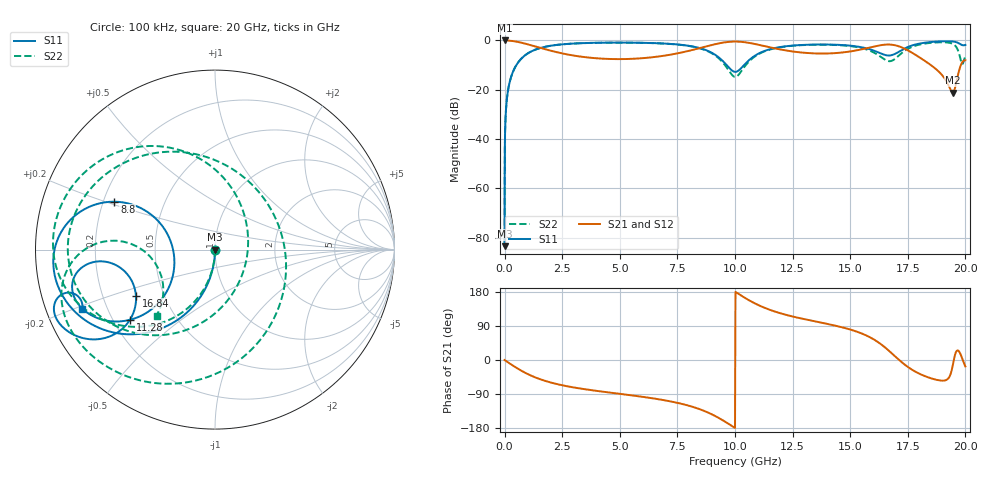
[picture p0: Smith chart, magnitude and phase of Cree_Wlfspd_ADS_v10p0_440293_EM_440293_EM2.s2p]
! Touchstone file exported from HFSS 3D Layout Design 2018.2.0
!  File:  C:/Users/wfinley/Desktop/CG2H40120/HFSS/440293_EM.aedt
!  Generated:  2:30:53 PM  Jun 17, 2019
!  Design:  440193_EM2
!  Project:  440293_EM
!  Setup:  HFSS Setup 1
!  Solution:  Sweep 1
# GHZ S MA R 50.000000
! Terminal data exported
! Port[1] = Port11
! Port[2] = Port12
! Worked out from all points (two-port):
!   1003 points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, 100 kHz to 20 GHz, reference per port
!   highest |S21| = 0.00 dB at 100 kHz (marker M1); lowest = -21.2 dB at 19.46 GHz (marker M2)
!   |S21| within 3 dB of the highest: start of sweep to 1.545 GHz; 8.513 GHz to 11.62 GHz (3.111 GHz wide, 30.9 % of centre)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
!   lowest |S11| = -83.5 dB at 100 kHz (marker M3), VSWR 1.00
!   |S11| at or under -10 dB: start of sweep to 509.5 MHz; 9.638 GHz to 10.39 GHz (755.6 MHz wide, 7.54 % of centre)
!   |S22| runs from -83.5 to -0.7 dB; largest |S21 - S12| = 2.9e-13
!   S11 on the Smith chart (normalised r, x): 100 kHz: 1.00, -0.00; 8.8 GHz: 0.25, +0.21; 11.28 GHz: 0.27, -0.34; 16.84 GHz: 0.35, -0.24; 20 GHz: 0.11, -0.21
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0.0001  6.682e-05 -74.7  1 -0.0  1 -0.0  6.673e-05 -75.0
! Gamma 0 0.00209584502195168 0 0 0 0 0.000451081105093305 0.00409270832915635
! Port Impedance50 0 0 0 0 0 50 0
0.001  0.0006631 -88.2  1 -0.0  1 -0.0  0.0006631 -88.3
0.02  0.01399 -92.2  0.9996 -0.9  0.9996 -0.9  0.0133 -89.2
0.12  0.0788 -95.0  0.9963 -5.0  0.9963 -5.0  0.07876 -95.6
0.44  0.2769 -107.2  0.9594 -17.9  0.9594 -17.9  0.2769 -109.1
1.36  0.6577 -134.1  0.7493 -46.6  0.7493 -46.6  0.6579 -139.6
3.34  0.8808 -161.5  0.4675 -75.8  0.4675 -75.8  0.8802 -170.6
6.68  0.8769 175.9  0.4723 -103.5  0.4723 -103.5  0.8743 157.3
8.8  0.6207 154.5  0.7675 -137.9  0.7675 -137.9  0.6099 112.4
10.02  0.2307 -171.9  0.9491 179.8  0.9491 179.8  0.1819 -9.4
11.28  0.6121 -140.3  0.7684 137.8  0.7684 137.8  0.601 -127.6
13.34  0.824 -159.4  0.5489 103.7  0.5489 103.7  0.816 -174.2
15.24  0.7616 -171.7  0.625 75.8  0.625 75.8  0.7403 145.6
16.1  0.6034 -173.4  0.7649 51.5  0.7649 51.5  0.544 101.8
16.68  0.4945 -157.1  0.827 24.4  0.827 24.4  0.3792 25.8
16.84  0.5096 -149.8  0.816 15.7  0.816 15.7  0.3931 -3.8
17.34  0.6775 -139.5  0.688 -10.9  0.688 -10.9  0.6026 -72.0
17.82  0.8264 -142.8  0.5154 -30.5  0.5154 -30.5  0.7799 -106.8
18.66  0.9421 -151.5  0.2774 -51.0  0.2774 -51.0  0.9076 -140.6
19.46  0.9522 -160.4  0.08691 -11.7  0.08691 -11.7  0.8483 -170.3
19.72  0.8746 -163.8  0.2388 22.9  0.2388 22.9  0.5527 174.9
20  0.81 -155.9  0.3962 -17.1  0.3962 -17.1  0.4912 -131.5
